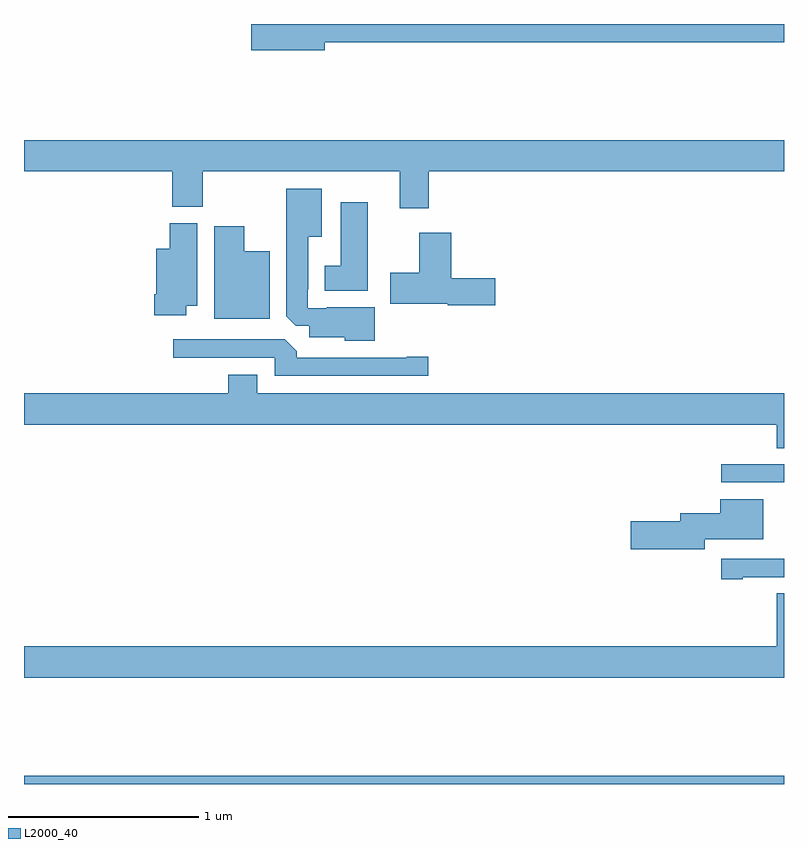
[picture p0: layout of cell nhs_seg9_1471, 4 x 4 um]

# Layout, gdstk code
import gdstk
lib = gdstk.Library(unit=1e-6, precision=1e-09)
def R(c, l, rs):  # rectangles x0, y0, x1, y1
    for r in rs: c.add(gdstk.rectangle(r[:2], r[2:], *l))
def P(c, l, *ps):  # polygons
    for p in ps: c.add(gdstk.Polygon(p, *l))
L2000_40 = (2000, 40)

nhs_seg9_1471 = lib.new_cell('nhs_seg9_1471')
R(nhs_seg9_1471, L2000_40, [(193,1222.5,197,1222.544), (196.671,1224.087,197,1224.183)])
P(nhs_seg9_1471, L2000_40, [(194.584,1226.404),(197,1226.404),(197,1226.5),(194.196,1226.5),(194.196,1226.362),(194.584,1226.362)],
  [(193,1225.724),(193.781,1225.724),(193.781,1225.537),(193.941,1225.537),(193.941,1225.724),(194.978,1225.724),(194.978,1225.53),(195.131,1225.53),(195.131,1225.724),(197,1225.724),(197,1225.888),(193,1225.888)],
  [(194.845,1225.009),(194.593,1225.009),(194.593,1225.005),(194.493,1225.005),(194.493,1225.105),(194.497,1225.105),(194.497,1225.379),(194.566,1225.379),(194.566,1225.633),(194.381,1225.633),(194.381,1224.961),(194.43,1224.912),(194.501,1224.912),(194.501,1224.851),(194.688,1224.851),(194.688,1224.833),(194.845,1224.833)],
  [(194.809,1225.561),(194.666,1225.561),(194.666,1225.228),(194.582,1225.228),(194.582,1225.097),(194.809,1225.097)],
  [(193.855,1225.016),(193.912,1225.016),(193.912,1225.452),(193.766,1225.452),(193.766,1225.318),(193.697,1225.318),(193.697,1225.078),(193.685,1225.078),(193.685,1224.966),(193.855,1224.966)],
  [(194.293,1225.303),(194.158,1225.303),(194.158,1225.435),(194,1225.435),(194,1224.95),(194.293,1224.95)],
  [(195.481,1225.163),(195.248,1225.163),(195.248,1225.402),(195.08,1225.402),(195.08,1225.191),(194.928,1225.191),(194.928,1225.028),(195.231,1225.028),(195.231,1225.021),(195.481,1225.021)],
  [(195.127,1224.749),(195.014,1224.749),(195.014,1224.744),(194.435,1224.744),(194.435,1224.778),(194.373,1224.84),(193.785,1224.84),(193.785,1224.744),(194.319,1224.744),(194.319,1224.648),(195.127,1224.648)],
  [(197,1224.556),(194.227,1224.556),(194.227,1224.655),(194.075,1224.655),(194.075,1224.556),(193,1224.556),(193,1224.392),(196.961,1224.392),(196.961,1224.268),(197,1224.268)],
  [(196.582,1223.789),(196.891,1223.789),(196.891,1223.998),(196.664,1223.998),(196.664,1223.925),(196.454,1223.925),(196.454,1223.882),(196.194,1223.882),(196.194,1223.735),(196.582,1223.735)],
  [(196.783,1223.589),(197,1223.589),(197,1223.685),(196.671,1223.685),(196.671,1223.577),(196.783,1223.577)],
  [(197,1223.504),(196.961,1223.504),(196.961,1223.224),(193,1223.224),(193,1223.06),(197,1223.06)])

lib.write_gds('nhs_seg9_1471.gds')
